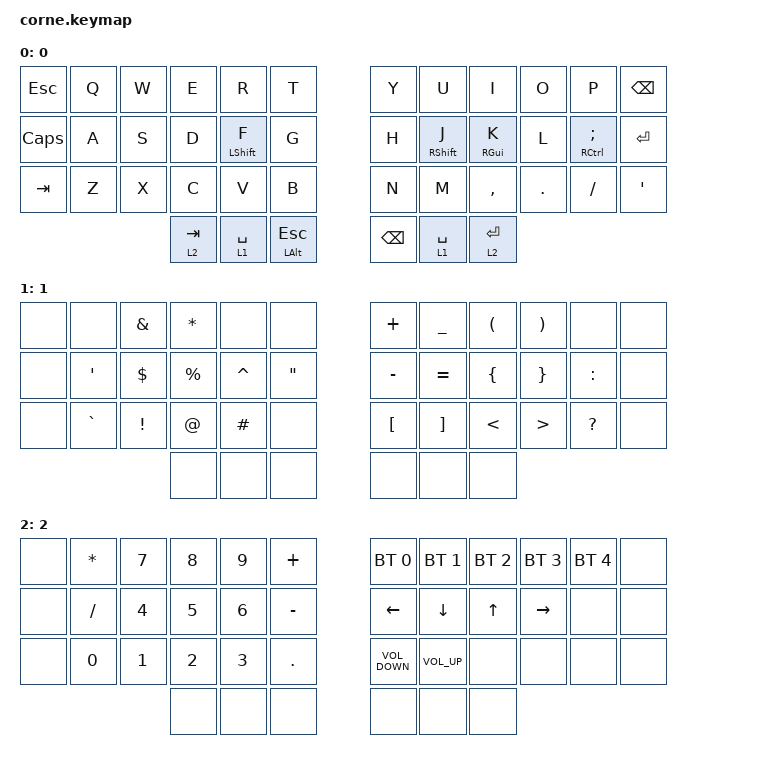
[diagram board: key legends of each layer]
/*
 * Copyright (c) 2020 The ZMK Contributors
 *
 * SPDX-License-Identifier: MIT
 */

#include <behaviors.dtsi>
#include <dt-bindings/zmk/bt.h>
#include <dt-bindings/zmk/keys.h>

#define DEFAULT_L 0
#define SYMBOLS_L 1
#define ARROWS_L  2
#define NUMBERS_L 3

/ {
    behaviors {
        hm: homerow_mods {
            compatible = "zmk,behavior-hold-tap";
            label = "HOMEROW_MODS";
            #binding-cells = <2>;
            tapping-term-ms = <300>;
            quick-tap-ms = <200>;
            flavor = "tap-preferred";
            bindings = <&kp>, <&kp>;
        };
    };

    combos {
        compatible = "zmk,combos";

        a {
            bindings = <&kp ESCAPE>;
            key-positions = <2 1>;
        };

        b {
            bindings = <&kp CLCK>;
            key-positions = <14 15>;
        };

        c {
            bindings = <&kp TAB>;
            key-positions = <2 3>;
        };

        d {
            bindings = <&kp BACKSPACE>;
            key-positions = <10 9>;
        };

        e {
            bindings = <&kp ENTER>;
            key-positions = <22 21>;
        };

        f {
            bindings = <&kp MINUS>;
            key-positions = <19 20>;
        };

        g {
            bindings = <&kp EQUAL>;
            key-positions = <21 20>;
        };

        h {
            bindings = <&sys_reset>;
            key-positions = <1 29>;
        };

        i {
            bindings = <&sys_reset>;
            key-positions = <30 10>;
        };

        j {
            bindings = <&kp LS(N9)>;
            key-positions = <5 4>;
        };

        k {
            bindings = <&kp LS(N0)>;
            key-positions = <7 6>;
        };
    };

    keymap {
        compatible = "zmk,keymap";

        default_layer {
            label = "0";
            bindings = <
&kp ESC       &kp Q  &kp W  &kp E      &kp R             &kp T                  &kp Y          &kp U              &kp I            &kp O    &kp P                   &kp BSPC
&kp CAPSLOCK  &kp A  &kp S  &kp D      &hm LEFT_SHIFT F  &kp G                  &kp H          &hm RIGHT_SHIFT J  &hm RIGHT_GUI K  &kp L    &hm RIGHT_CONTROL SEMI  &kp RET
&kp TAB       &kp Z  &kp X  &kp C      &kp V             &kp B                  &kp N          &kp M              &kp COMMA        &kp DOT  &kp FSLH                &kp APOS
                            &lt 2 TAB  &lt 1 SPACE       &mt LEFT_ALT ESCAPE    &kp BACKSPACE  &lt 1 SPACE        &lt 2 ENTER
            >;
        };

        symbols {
            label = "1";
            bindings = <
&none  &none             &kp AMPERSAND  &kp STAR     &none      &none                &kp PLUS          &kp UNDER          &kp LEFT_PARENTHESIS  &kp RIGHT_PARENTHESIS  &none         &none
&none  &kp SINGLE_QUOTE  &kp DOLLAR     &kp PERCENT  &kp CARET  &kp DOUBLE_QUOTES    &kp MINUS         &kp EQUAL          &kp LEFT_BRACE        &kp RIGHT_BRACE        &kp COLON     &none
&none  &kp GRAVE         &kp EXCL       &kp AT       &kp HASH   &none                &kp LEFT_BRACKET  &kp RIGHT_BRACKET  &kp LESS_THAN         &kp GREATER_THAN       &kp QUESTION  &none
                                        &none        &none      &none                &none             &none              &none
            >;
        };

        nums_and_nav {
            label = "2";
            bindings = <
&none  &kp STAR   &kp N7        &kp N8        &kp N9        &kp PLUS     &bt BT_SEL 0       &bt BT_SEL 1     &bt BT_SEL 2  &bt BT_SEL 3  &bt BT_SEL 4  &none
&none  &kp SLASH  &kp NUMBER_4  &kp N5        &kp NUMBER_6  &kp MINUS    &kp LEFT           &kp DOWN         &kp UP_ARROW  &kp RIGHT     &none         &none
&none  &kp N0     &kp NUMBER_1  &kp NUMBER_2  &kp NUMBER_3  &kp DOT      &kp C_VOLUME_DOWN  &kp C_VOLUME_UP  &none         &none         &none         &none
                                &none         &none         &none        &none              &none            &none
            >;
        };
    };
};
